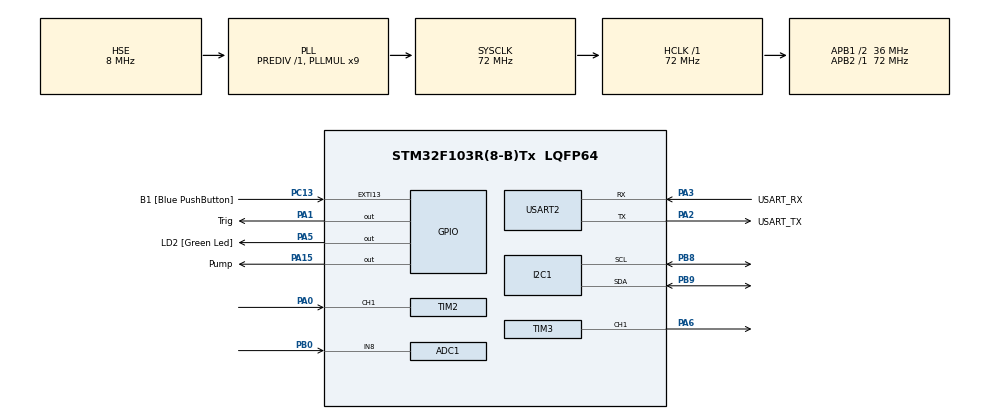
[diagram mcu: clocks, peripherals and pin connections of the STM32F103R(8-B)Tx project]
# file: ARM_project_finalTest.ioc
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ADC1.Channel-1\#ChannelRegularConversion=ADC_CHANNEL_8
ADC1.NbrOfConversionFlag=1
ADC1.Rank-1\#ChannelRegularConversion=1
ADC1.SamplingTime-1\#ChannelRegularConversion=ADC_SAMPLETIME_1CYCLE_5
ADC1.master=1
Dma.Request0=TIM3_CH1/TRIG
Dma.TIM3_CH1/TRIG.0.Direction=DMA_MEMORY_TO_PERIPH
Dma.TIM3_CH1/TRIG.0.Instance=DMA1_Channel6
Dma.TIM3_CH1/TRIG.0.MemDataAlignment=DMA_MDATAALIGN_HALFWORD
Dma.TIM3_CH1/TRIG.0.MemInc=DMA_MINC_ENABLE
Dma.TIM3_CH1/TRIG.0.Mode=DMA_NORMAL
Dma.TIM3_CH1/TRIG.0.PeriphDataAlignment=DMA_PDATAALIGN_HALFWORD
Dma.TIM3_CH1/TRIG.0.PeriphInc=DMA_PINC_DISABLE
Dma.TIM3_CH1/TRIG.0.Priority=DMA_PRIORITY_LOW
Mcu.Family=STM32F1
Mcu.Name=STM32F103R(8-B)Tx
Mcu.Package=LQFP64
NVIC.DMA1_Channel6_IRQn=true\:0\:0\:false\:false\:true\:false\:true\:true
NVIC.EXTI15_10_IRQn=true\:0\:0\:false\:false\:true\:true\:true\:true
NVIC.PriorityGroup=NVIC_PRIORITYGROUP_4
NVIC.TIM2_IRQn=true\:0\:0\:false\:false\:true\:true\:true\:true
NVIC.TIM4_IRQn=true\:0\:0\:false\:false\:true\:true\:true\:true
PA0-WKUP.Signal=S_TIM2_CH1_ETR
PA1.GPIO_Label=Trig
PA1.Signal=GPIO_Output
PA13.GPIO_Label=TMS
PA13.Mode=Serial_Wire
PA13.Signal=SYS_JTMS-SWDIO
PA14.GPIO_Label=TCK
PA14.Mode=Serial_Wire
PA14.Signal=SYS_JTCK-SWCLK
PA15.GPIO_Label=Pump
PA15.Signal=GPIO_Output
PA2.GPIO_Label=USART_TX
PA2.GPIO_Mode=GPIO_MODE_AF_PP
PA2.GPIO_PuPd=GPIO_NOPULL
PA2.GPIO_Speed=GPIO_SPEED_FREQ_LOW
PA2.Mode=Asynchronous
PA2.Signal=USART2_TX
PA3.GPIO_Label=USART_RX
PA3.GPIO_Mode=GPIO_MODE_AF_PP
PA3.GPIO_PuPd=GPIO_NOPULL
PA3.GPIO_Speed=GPIO_SPEED_FREQ_LOW
PA3.Mode=Asynchronous
PA3.Signal=USART2_RX
PA5.GPIO_Label=LD2 [Green Led]
PA5.GPIO_ModeDefaultOutputPP=GPIO_MODE_OUTPUT_PP
PA5.GPIO_PuPd=GPIO_NOPULL
PA5.GPIO_Speed=GPIO_SPEED_FREQ_LOW
PA5.Signal=GPIO_Output
PA6.Signal=S_TIM3_CH1
PB0.Signal=ADCx_IN8
PB3.GPIO_Label=SWO
PB3.Signal=SYS_JTDO-TRACESWO
PB8.Mode=I2C
PB8.Signal=I2C1_SCL
PB9.Mode=I2C
PB9.Signal=I2C1_SDA
PC13-TAMPER-RTC.GPIO_Label=B1 [Blue PushButton]
PC13-TAMPER-RTC.GPIO_PuPd=GPIO_NOPULL
PC13-TAMPER-RTC.Signal=GPXTI13
PC14-OSC32_IN.Mode=LSE-External-Oscillator
PC14-OSC32_IN.Signal=RCC_OSC32_IN
PC15-OSC32_OUT.Mode=LSE-External-Oscillator
PC15-OSC32_OUT.Signal=RCC_OSC32_OUT
PD0-OSC_IN.Mode=HSE-External-Clock-Source
PD0-OSC_IN.Signal=RCC_OSC_IN
PD1-OSC_OUT.Mode=HSE-External-Clock-Source
PD1-OSC_OUT.Signal=RCC_OSC_OUT
ProjectManager.HeapSize=0x200
ProjectManager.StackSize=0x400
ProjectManager.TargetToolchain=STM32CubeIDE
RCC.ADCPresc=RCC_ADCPCLK2_DIV8
RCC.AHBFreq_Value=72000000
RCC.APB1CLKDivider=RCC_HCLK_DIV2
RCC.APB1Freq_Value=36000000
RCC.APB1TimFreq_Value=72000000
RCC.APB2Freq_Value=72000000
RCC.APB2TimFreq_Value=72000000
RCC.HCLKFreq_Value=72000000
RCC.PLLMUL=RCC_PLL_MUL9
RCC.PLLSourceVirtual=RCC_PLLSOURCE_HSE
RCC.RTCClockSelection=RCC_RTCCLKSOURCE_LSE
RCC.SYSCLKFreq_VALUE=72000000
RCC.SYSCLKSource=RCC_SYSCLKSOURCE_PLLCLK
RCC.USBFreq_Value=72000000
SH.ADCx_IN8.0=ADC1_IN8,IN8
SH.S_TIM2_CH1_ETR.0=TIM2_CH1,Input_Capture1_from_TI1
SH.S_TIM3_CH1.0=TIM3_CH1,PWM Generation1 CH1
TIM2.Channel-Input_Capture1_from_TI1=TIM_CHANNEL_1
TIM2.Period=65535
TIM2.Prescaler=72-1
TIM3.Channel-PWM\ Generation1\ CH1=TIM_CHANNEL_1
TIM3.Period=90-1
TIM4.Period=10000-1
TIM4.Prescaler=7200-1
USART2.VirtualMode=VM_ASYNC
VP_TIM2_VS_ClockSourceINT.Mode=Internal
VP_TIM3_VS_ClockSourceINT.Mode=Internal
VP_TIM4_VS_ClockSourceINT.Mode=Internal
board=NUCLEO-F103RB

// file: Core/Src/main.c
/* USER CODE BEGIN Header */
/**
 ******************************************************************************
 * @file           : main.c
 * @brief          : Main program body
 ******************************************************************************
 * @attention
 *
 * Copyright (c) 2022 STMicroelectronics.
 * All rights reserved.
 *
 * This software is licensed under terms that can be found in the LICENSE file
 * in the root directory of this software component.
 * If no LICENSE file comes with this software, it is provided AS-IS.
 *
 ******************************************************************************
 */
/* USER CODE END Header */
#include "main.h"

/* USER CODE BEGIN Includes */
#include <stdio.h>
#include "math.h"
/* USER CODE END Includes */

/* USER CODE BEGIN PD */
#define DS18B20_PORT GPIOB
#define DS18B20_PIN GPIO_PIN_0

#define MAX_WATER_LEVEL 11

#define MAX_LED 43
#define USE_BRIGHTNESS 1
#define PI 3.14159265
/* USER CODE END PD */

ADC_HandleTypeDef hadc1;

I2C_HandleTypeDef hi2c1;

TIM_HandleTypeDef htim2;
TIM_HandleTypeDef htim3;
TIM_HandleTypeDef htim4;
DMA_HandleTypeDef hdma_tim3_ch1_trig;

UART_HandleTypeDef huart2;

/* USER CODE BEGIN PV */
uint32_t IC1, IC2, ic;
uint16_t SUM, RH, TEMP;
uint8_t Rh_byte1, Rh_byte2, Temp_byte1, Temp_byte2;
uint8_t Presence = 0;

int captureFlag = 0;
int timeCount = 0;

char displayDis[50];
char displayTemp[50];

float dis = 0;
float waterLevel = 0;
float Temperature = 0;
//======================== For using neo pexels===========================//

uint8_t LED_Data[MAX_LED][4];
uint8_t LED_Mod[MAX_LED][4];  // for brightness
uint16_t pwmData[(24 * MAX_LED) + 50];

int datasentflag = 0;
/* USER CODE END PV */

void SystemClock_Config(void);
static void MX_GPIO_Init(void);
static void MX_USART2_UART_Init(void);
static void MX_DMA_Init(void);
static void MX_TIM2_Init(void);
static void MX_TIM3_Init(void);
static void MX_ADC1_Init(void);
static void MX_I2C1_Init(void);
static void MX_TIM4_Init(void);

/* USER CODE BEGIN 0 */
#ifdef __GNUC__
/* With GCC, small printf (option LD Linker->Libraries->Small printf
 set to 'Yes') calls __io_putchar() */
#define PUTCHAR_PROTOTYPE int __io_putchar(int ch)
#else
#define PUTCHAR_PROTOTYPE int fputc(int ch, FILE *f)
#endif /* __GNUC__ */
PUTCHAR_PROTOTYPE {
	/* Place your implementation of fputc here */
	/* e.g. write a character to the USART1 and Loop until the end of transmission */
	HAL_UART_Transmit(&huart2, (uint8_t*) &ch, 1, 0xFFFF);

	return ch;
}
//==============================================
//				personal function
//==============================================
void delay_us(uint16_t time) { //micro second delay function for using sensor
	__HAL_TIM_SET_COUNTER(&htim2, 0);
	//TIM4->CNT = 0;
	while ((__HAL_TIM_GET_COUNTER(&htim2)) < time)
		;
}
void ultraSonic() {
	HAL_GPIO_WritePin(GPIOA, Trig_Pin, GPIO_PIN_SET);
	delay_us(10);
	HAL_GPIO_WritePin(GPIOA, Trig_Pin, GPIO_PIN_RESET);
}
void displayLCD(float waterLevel, float temp) {
	sprintf(displayDis, "Water : %.2fcm  ", waterLevel);
	sprintf(displayTemp, "Temp : %.2f%cC", temp, 223); //ASCII Code 223 -> degree

	lcd_put_cur(0, 0);
	lcd_send_string(displayDis);

	lcd_put_cur(1, 0);
	lcd_send_string(displayTemp);
}
void setWaterPump(float waterLevel) {
	if (waterLevel < 5.0) {
		HAL_GPIO_WritePin(GPIOA, Pump_Pin, GPIO_PIN_SET);
	} else
		HAL_GPIO_WritePin(GPIOA, Pump_Pin, GPIO_PIN_RESET);
}
void LEDColorByTemp(float Temperature) {
	if (Temperature >= 20.0) {
		for (int idx = 0; idx < MAX_LED; idx++) {
			Set_LED(idx, 255, 0, 0); // LED Red
			//delay_us(10);
			Set_Brightness(15);
			WS2812_Send();
		}

	} else {
		for (int idx = 0; idx < MAX_LED; idx++) {
			Set_LED(idx, 0, 0, 255); // LED Blue
			//delay_us(10);
			Set_Brightness(15);
			WS2812_Send();
		}

	}
}
//==============================================
// 		ntc sensor, DS18B20 ADC setting
//==============================================
void Set_Pin_Output(GPIO_TypeDef *GPIOx, uint16_t GPIO_Pin) {
	GPIO_InitTypeDef GPIO_InitStruct = { 0 };
	GPIO_InitStruct.Pin = GPIO_Pin;
	GPIO_InitStruct.Mode = GPIO_MODE_OUTPUT_PP;
	GPIO_InitStruct.Speed = GPIO_SPEED_FREQ_LOW;
	HAL_GPIO_Init(GPIOx, &GPIO_InitStruct);
}

void Set_Pin_Input(GPIO_TypeDef *GPIOx, uint16_t GPIO_Pin) {
	GPIO_InitTypeDef GPIO_InitStruct = { 0 };
	GPIO_InitStruct.Pin = GPIO_Pin;
	GPIO_InitStruct.Mode = GPIO_MODE_INPUT;
	GPIO_InitStruct.Pull = GPIO_PULLUP;
	HAL_GPIO_Init(GPIOx, &GPIO_InitStruct);
}

uint8_t DS18B20_Start(void) {
	uint8_t Response = 0;
	Set_Pin_Output(DS18B20_PORT, DS18B20_PIN);   // set the pin as output
	HAL_GPIO_WritePin(DS18B20_PORT, DS18B20_PIN, 0);  // pull the pin low
	delay_us(480);   // delay according to datasheet

	Set_Pin_Input(DS18B20_PORT, DS18B20_PIN);    // set the pin as input
	delay_us(80);    // delay according to datasheet

	if (!(HAL_GPIO_ReadPin(DS18B20_PORT, DS18B20_PIN)))
		Response = 1;    // if the pin is low i.e the presence pulse is detected
	else
		Response = -1;

	delay_us(400); // 480 us delay totally.

	return Response;
}

void DS18B20_Write(uint8_t data) {
	Set_Pin_Output(DS18B20_PORT, DS18B20_PIN);  // set as output

	for (int i = 0; i < 8; i++) {

		if ((data & (1 << i)) != 0)  // if the bit is high
				{
			// write 1

			Set_Pin_Output(DS18B20_PORT, DS18B20_PIN);  // set as output
			HAL_GPIO_WritePin(DS18B20_PORT, DS18B20_PIN, 0); // pull the pin LOW
			delay_us(1);  // wait for 1 us

			Set_Pin_Input(DS18B20_PORT, DS18B20_PIN);  // set as input
			delay_us(60);  // wait for 60 us
		}

		else  // if the bit is low
		{
			// write 0

			Set_Pin_Output(DS18B20_PORT, DS18B20_PIN);
			HAL_GPIO_WritePin(DS18B20_PORT, DS18B20_PIN, 0); // pull the pin LOW
			delay_us(60);  // wait for 60 us

			Set_Pin_Input(DS18B20_PORT, DS18B20_PIN);
		}
	}
}

uint8_t DS18B20_Read(void) {
	uint8_t value = 0;

	Set_Pin_Input(DS18B20_PORT, DS18B20_PIN);

	for (int i = 0; i < 8; i++) {
		Set_Pin_Output(DS18B20_PORT, DS18B20_PIN);   // set as output

		HAL_GPIO_WritePin(DS18B20_PORT, DS18B20_PIN, 0); // pull the data pin LOW
		delay_us(1);  // wait for > 1us

		Set_Pin_Input(DS18B20_PORT, DS18B20_PIN);  // set as input
		if (HAL_GPIO_ReadPin(DS18B20_PORT, DS18B20_PIN))  // if the pin is HIGH
				{
			value |= 1 << i;  // read = 1
		}
		delay_us(60);  // wait for 60 us
	}
	return value;
}
//==============================================
//					use led
//==============================================
void HAL_TIM_PWM_PulseFinishedCallback(TIM_HandleTypeDef *htim) {
	HAL_TIM_PWM_Stop_DMA(&htim3, TIM_CHANNEL_1);
	datasentflag = 1;
}
void Set_LED(int LEDnum, int Red, int Green, int Blue) {
	LED_Data[LEDnum][0] = LEDnum;
	LED_Data[LEDnum][1] = Green;
	LED_Data[LEDnum][2] = Red;
	LED_Data[LEDnum][3] = Blue;
}

void Set_Brightness(int brightness)  // 0-45
{
#if USE_BRIGHTNESS

	if (brightness > 45)
		brightness = 45;
	for (int i = 0; i < MAX_LED; i++) {
		LED_Mod[i][0] = LED_Data[i][0];
		for (int j = 1; j < 4; j++) {
			float angle = 90 - brightness;  // in degrees
			angle = angle * PI / 180;  // in rad
			LED_Mod[i][j] = (LED_Data[i][j]) / (tan(angle));
		}
	}

#endif

}

void WS2812_Send(void) {
	uint32_t indx = 0;
	uint32_t color;

	for (int i = 0; i < MAX_LED; i++) {
#if USE_BRIGHTNESS
		color =
				((LED_Mod[i][1] << 16) | (LED_Mod[i][2] << 8) | (LED_Mod[i][3]));
#else
		color = ((LED_Data[i][1] << 16) | (LED_Data[i][2] << 8)
				| (LED_Data[i][3]));
#endif

		for (int i = 23; i >= 0; i--) {
			if (color & (1 << i)) {
				pwmData[indx] = 60;  // 2/3 of 90
			}

			else
				pwmData[indx] = 30;  // 1/3 of 90

			indx++;
		}

	}

	for (int i = 0; i < 50; i++) {
		pwmData[indx] = 0;
		indx++;
	}

	HAL_TIM_PWM_Start_DMA(&htim3, TIM_CHANNEL_1, (uint32_t*) pwmData, indx);
	while (!datasentflag) {
	};
	datasentflag = 0;
}

void Reset_LED(void) {
	for (int i = 0; i < MAX_LED; i++) {
		LED_Data[i][0] = i;
		LED_Data[i][1] = 0;
		LED_Data[i][2] = 0;
		LED_Data[i][3] = 0;
	}
}
//==============================================
//			get temperature value
//==============================================
void getTemperature() {
	Presence = DS18B20_Start();
	//HAL_Delay(1);
	DS18B20_Write(0xCC);  // skip ROM
	DS18B20_Write(0x44);  // convert t
	//HAL_Delay(800);

	Presence = DS18B20_Start();
	//HAL_Delay(1);
	DS18B20_Write(0xCC);  // skip ROM
	DS18B20_Write(0xBE);  // Read Scratch-pad

	Temp_byte1 = DS18B20_Read();
	Temp_byte2 = DS18B20_Read();
	TEMP = (Temp_byte2 << 8) | Temp_byte1;
	Temperature = (float) TEMP / 16;
}
/* USER CODE END 0 */

int main(void) {

	/* MCU Configuration--------------------------------------------------------*/

	/* Reset of all peripherals, Initializes the Flash interface and the Systick. */
	HAL_Init();

	/* Configure the system clock */
	SystemClock_Config();

	/* Initialize all configured peripherals */
	MX_GPIO_Init();
	MX_USART2_UART_Init();
	MX_DMA_Init();
	MX_TIM2_Init();
	MX_TIM3_Init();
	MX_ADC1_Init();
	MX_I2C1_Init();
	MX_TIM4_Init();
	/* USER CODE BEGIN 2 */
	lcd_init();

	HAL_ADC_Start(&hadc1);
	HAL_TIM_IC_Start_IT(&htim2, TIM_CHANNEL_1);
	HAL_TIM_Base_Start(&htim2);

	HAL_TIM_Base_Start_IT(&htim4); // for using 2 sensors
	/* USER CODE END 2 */

	/* Infinite loop */
	/* USER CODE BEGIN WHILE */
	while (1) {
		ultraSonic(); //set trigger for HC-SR04

		LEDColorByTemp(Temperature); //LED display

		waterLevel = FISH_BOWL_HEIGHT - dis;
		displayLCD(waterLevel, Temperature); //LCD display
		setWaterPump(waterLevel); //set water pump

		HAL_Delay(300); //LCD display delay
		/* USER CODE END WHILE */

	}
}

void SystemClock_Config(void) {
	RCC_OscInitTypeDef RCC_OscInitStruct = { 0 };
	RCC_ClkInitTypeDef RCC_ClkInitStruct = { 0 };
	RCC_PeriphCLKInitTypeDef PeriphClkInit = { 0 };

	/** Initializes the RCC Oscillators according to the specified parameters
	 * in the RCC_OscInitTypeDef structure.
	 */
	RCC_OscInitStruct.OscillatorType = RCC_OSCILLATORTYPE_HSE;
	RCC_OscInitStruct.HSEState = RCC_HSE_BYPASS;
	RCC_OscInitStruct.HSEPredivValue = RCC_HSE_PREDIV_DIV1;
	RCC_OscInitStruct.HSIState = RCC_HSI_ON;
	RCC_OscInitStruct.PLL.PLLState = RCC_PLL_ON;
	RCC_OscInitStruct.PLL.PLLSource = RCC_PLLSOURCE_HSE;
	RCC_OscInitStruct.PLL.PLLMUL = RCC_PLL_MUL9;
	if (HAL_RCC_OscConfig(&RCC_OscInitStruct) != HAL_OK) {
		Error_Handler();
	}

	/** Initializes the CPU, AHB and APB buses clocks
	 */
	RCC_ClkInitStruct.ClockType = RCC_CLOCKTYPE_HCLK | RCC_CLOCKTYPE_SYSCLK
			| RCC_CLOCKTYPE_PCLK1 | RCC_CLOCKTYPE_PCLK2;
	RCC_ClkInitStruct.SYSCLKSource = RCC_SYSCLKSOURCE_PLLCLK;
	RCC_ClkInitStruct.AHBCLKDivider = RCC_SYSCLK_DIV1;
	RCC_ClkInitStruct.APB1CLKDivider = RCC_HCLK_DIV2;
	RCC_ClkInitStruct.APB2CLKDivider = RCC_HCLK_DIV1;

	if (HAL_RCC_ClockConfig(&RCC_ClkInitStruct, FLASH_LATENCY_2) != HAL_OK) {
		Error_Handler();
	}
	PeriphClkInit.PeriphClockSelection = RCC_PERIPHCLK_ADC;
	PeriphClkInit.AdcClockSelection = RCC_ADCPCLK2_DIV8;
	if (HAL_RCCEx_PeriphCLKConfig(&PeriphClkInit) != HAL_OK) {
		Error_Handler();
	}
}

static void MX_ADC1_Init(void) {

	ADC_ChannelConfTypeDef sConfig = { 0 };

	/** Common config
	 */
	hadc1.Instance = ADC1;
	hadc1.Init.ScanConvMode = ADC_SCAN_DISABLE;
	hadc1.Init.ContinuousConvMode = DISABLE;
	hadc1.Init.DiscontinuousConvMode = DISABLE;
	hadc1.Init.ExternalTrigConv = ADC_SOFTWARE_START;
	hadc1.Init.DataAlign = ADC_DATAALIGN_RIGHT;
	hadc1.Init.NbrOfConversion = 1;
	if (HAL_ADC_Init(&hadc1) != HAL_OK) {
		Error_Handler();
	}

	/** Configure Regular Channel
	 */
	sConfig.Channel = ADC_CHANNEL_8;
	sConfig.Rank = ADC_REGULAR_RANK_1;
	sConfig.SamplingTime = ADC_SAMPLETIME_1CYCLE_5;
	if (HAL_ADC_ConfigChannel(&hadc1, &sConfig) != HAL_OK) {
		Error_Handler();
	}

}

static void MX_I2C1_Init(void) {

	hi2c1.Instance = I2C1;
	hi2c1.Init.ClockSpeed = 100000;
	hi2c1.Init.DutyCycle = I2C_DUTYCYCLE_2;
	hi2c1.Init.OwnAddress1 = 0;
	hi2c1.Init.AddressingMode = I2C_ADDRESSINGMODE_7BIT;
	hi2c1.Init.DualAddressMode = I2C_DUALADDRESS_DISABLE;
	hi2c1.Init.OwnAddress2 = 0;
	hi2c1.Init.GeneralCallMode = I2C_GENERALCALL_DISABLE;
	hi2c1.Init.NoStretchMode = I2C_NOSTRETCH_DISABLE;
	if (HAL_I2C_Init(&hi2c1) != HAL_OK) {
		Error_Handler();
	}

}

static void MX_TIM2_Init(void) {

	TIM_ClockConfigTypeDef sClockSourceConfig = { 0 };
	TIM_MasterConfigTypeDef sMasterConfig = { 0 };
	TIM_IC_InitTypeDef sConfigIC = { 0 };

	htim2.Instance = TIM2;
	htim2.Init.Prescaler = 72 - 1;
	htim2.Init.CounterMode = TIM_COUNTERMODE_UP;
	htim2.Init.Period = 65535;
	htim2.Init.ClockDivision = TIM_CLOCKDIVISION_DIV1;
	htim2.Init.AutoReloadPreload = TIM_AUTORELOAD_PRELOAD_DISABLE;
	if (HAL_TIM_Base_Init(&htim2) != HAL_OK) {
		Error_Handler();
	}
	sClockSourceConfig.ClockSource = TIM_CLOCKSOURCE_INTERNAL;
	if (HAL_TIM_ConfigClockSource(&htim2, &sClockSourceConfig) != HAL_OK) {
		Error_Handler();
	}
	if (HAL_TIM_IC_Init(&htim2) != HAL_OK) {
		Error_Handler();
	}
	sMasterConfig.MasterOutputTrigger = TIM_TRGO_RESET;
	sMasterConfig.MasterSlaveMode = TIM_MASTERSLAVEMODE_DISABLE;
	if (HAL_TIMEx_MasterConfigSynchronization(&htim2, &sMasterConfig)
			!= HAL_OK) {
		Error_Handler();
	}
	sConfigIC.ICPolarity = TIM_INPUTCHANNELPOLARITY_RISING;
	sConfigIC.ICSelection = TIM_ICSELECTION_DIRECTTI;
	sConfigIC.ICPrescaler = TIM_ICPSC_DIV1;
	sConfigIC.ICFilter = 0;
	if (HAL_TIM_IC_ConfigChannel(&htim2, &sConfigIC, TIM_CHANNEL_1) != HAL_OK) {
		Error_Handler();
	}

}

static void MX_TIM3_Init(void) {

	TIM_ClockConfigTypeDef sClockSourceConfig = { 0 };
	TIM_MasterConfigTypeDef sMasterConfig = { 0 };
	TIM_OC_InitTypeDef sConfigOC = { 0 };

	htim3.Instance = TIM3;
	htim3.Init.Prescaler = 0;
	htim3.Init.CounterMode = TIM_COUNTERMODE_UP;
	htim3.Init.Period = 90 - 1;
	htim3.Init.ClockDivision = TIM_CLOCKDIVISION_DIV1;
	htim3.Init.AutoReloadPreload = TIM_AUTORELOAD_PRELOAD_DISABLE;
	if (HAL_TIM_Base_Init(&htim3) != HAL_OK) {
		Error_Handler();
	}
	sClockSourceConfig.ClockSource = TIM_CLOCKSOURCE_INTERNAL;
	if (HAL_TIM_ConfigClockSource(&htim3, &sClockSourceConfig) != HAL_OK) {
		Error_Handler();
	}
	if (HAL_TIM_PWM_Init(&htim3) != HAL_OK) {
		Error_Handler();
	}
	sMasterConfig.MasterOutputTrigger = TIM_TRGO_RESET;
	sMasterConfig.MasterSlaveMode = TIM_MASTERSLAVEMODE_DISABLE;
	if (HAL_TIMEx_MasterConfigSynchronization(&htim3, &sMasterConfig)
			!= HAL_OK) {
		Error_Handler();
	}
	sConfigOC.OCMode = TIM_OCMODE_PWM1;
	sConfigOC.Pulse = 0;
	sConfigOC.OCPolarity = TIM_OCPOLARITY_HIGH;
	sConfigOC.OCFastMode = TIM_OCFAST_DISABLE;
	if (HAL_TIM_PWM_ConfigChannel(&htim3, &sConfigOC, TIM_CHANNEL_1)
			!= HAL_OK) {
		Error_Handler();
	}
	HAL_TIM_MspPostInit(&htim3);

}

static void MX_TIM4_Init(void) {

	TIM_ClockConfigTypeDef sClockSourceConfig = { 0 };
	TIM_MasterConfigTypeDef sMasterConfig = { 0 };

	htim4.Instance = TIM4;
	htim4.Init.Prescaler = 7200 - 1;
	htim4.Init.CounterMode = TIM_COUNTERMODE_UP;
	htim4.Init.Period = 10000 - 1;
	htim4.Init.ClockDivision = TIM_CLOCKDIVISION_DIV1;
	htim4.Init.AutoReloadPreload = TIM_AUTORELOAD_PRELOAD_DISABLE;
	if (HAL_TIM_Base_Init(&htim4) != HAL_OK) {
		Error_Handler();
	}
	sClockSourceConfig.ClockSource = TIM_CLOCKSOURCE_INTERNAL;
	if (HAL_TIM_ConfigClockSource(&htim4, &sClockSourceConfig) != HAL_OK) {
		Error_Handler();
	}
	sMasterConfig.MasterOutputTrigger = TIM_TRGO_RESET;
	sMasterConfig.MasterSlaveMode = TIM_MASTERSLAVEMODE_DISABLE;
	if (HAL_TIMEx_MasterConfigSynchronization(&htim4, &sMasterConfig)
			!= HAL_OK) {
		Error_Handler();
	}

}

static void MX_USART2_UART_Init(void) {

	huart2.Instance = USART2;
	huart2.Init.BaudRate = 115200;
	huart2.Init.WordLength = UART_WORDLENGTH_8B;
	huart2.Init.StopBits = UART_STOPBITS_1;
	huart2.Init.Parity = UART_PARITY_NONE;
	huart2.Init.Mode = UART_MODE_TX_RX;
	huart2.Init.HwFlowCtl = UART_HWCONTROL_NONE;
	huart2.Init.OverSampling = UART_OVERSAMPLING_16;
	if (HAL_UART_Init(&huart2) != HAL_OK) {
		Error_Handler();
	}

}

static void MX_DMA_Init(void) {

	/* DMA controller clock enable */
	__HAL_RCC_DMA1_CLK_ENABLE();

	/* DMA interrupt init */
	/* DMA1_Channel6_IRQn interrupt configuration */
	HAL_NVIC_SetPriority(DMA1_Channel6_IRQn, 0, 0);
	HAL_NVIC_EnableIRQ(DMA1_Channel6_IRQn);

}

static void MX_GPIO_Init(void) {
	GPIO_InitTypeDef GPIO_InitStruct = { 0 };

	/* GPIO Ports Clock Enable */
	__HAL_RCC_GPIOC_CLK_ENABLE();
	__HAL_RCC_GPIOD_CLK_ENABLE();
	__HAL_RCC_GPIOA_CLK_ENABLE();
	__HAL_RCC_GPIOB_CLK_ENABLE();

	/*Configure GPIO pin Output Level */
	HAL_GPIO_WritePin(GPIOA, Trig_Pin | LD2_Pin | Pump_Pin, GPIO_PIN_RESET);

	/*Configure GPIO pin : B1_Pin */
	GPIO_InitStruct.Pin = B1_Pin;
	GPIO_InitStruct.Mode = GPIO_MODE_IT_RISING;
	GPIO_InitStruct.Pull = GPIO_NOPULL;
	HAL_GPIO_Init(B1_GPIO_Port, &GPIO_InitStruct);

	/*Configure GPIO pins : Trig_Pin LD2_Pin Pump_Pin */
	GPIO_InitStruct.Pin = Trig_Pin | LD2_Pin | Pump_Pin;
	GPIO_InitStruct.Mode = GPIO_MODE_OUTPUT_PP;
	GPIO_InitStruct.Pull = GPIO_NOPULL;
	GPIO_InitStruct.Speed = GPIO_SPEED_FREQ_LOW;
	HAL_GPIO_Init(GPIOA, &GPIO_InitStruct);

	/* EXTI interrupt init*/
	HAL_NVIC_SetPriority(EXTI15_10_IRQn, 0, 0);
	HAL_NVIC_EnableIRQ(EXTI15_10_IRQn);

}

/* USER CODE BEGIN 4 */
//get water level by HC-SR04, use IC interrupt
void HAL_TIM_IC_CaptureCallback(TIM_HandleTypeDef *htim) {
	if (htim->Channel == HAL_TIM_ACTIVE_CHANNEL_1) { //if channel is '1'
		if (captureFlag == 0) {
			IC1 = HAL_TIM_ReadCapturedValue(&htim2, TIM_CHANNEL_1);
			//IC1 = TIM2->CCR1;

			captureFlag = 1;
			__HAL_TIM_SET_CAPTUREPOLARITY(&htim2, TIM_CHANNEL_1,
					TIM_INPUTCHANNELPOLARITY_FALLING);
		} else if (captureFlag == 1) {
			IC2 = HAL_TIM_ReadCapturedValue(&htim2, TIM_CHANNEL_1);
			//IC2 = TIM2->CCR1;
			captureFlag = 0;
			if (IC2 > IC1) {
				ic = IC2 - IC1;
			} else {
				ic = (0xFFFF - IC1) + IC2; //uint32_t max = 0xFFFF
			}
			//freq = 1 / (ic * 0.000001); //IC1, IC2 parameters are frequency?
			//freq = 1 / ((IC2 - IC1) * psr/clk);
			dis = (ic * 0.034) / 2;

			__HAL_TIM_SET_COUNTER(&htim2, 0); // set counter(=CNT) 0
			__HAL_TIM_SET_CAPTUREPOLARITY(&htim2, TIM_CHANNEL_1,
					TIM_INPUTCHANNELPOLARITY_RISING);
			//TIM3->CCER &= ~(1<< 1);
		}
	}
}
//for using 2 sensors(HC-SR04, DS18B20)
void HAL_TIM_PeriodElapsedCallback(TIM_HandleTypeDef *htim) {
	timeCount++;
	if (timeCount == 1) {
		getTemperature();

		timeCount = 0;
	}
}

/* USER CODE END 4 */

void Error_Handler(void) {
	__disable_irq();
	while (1) {
	}
}
